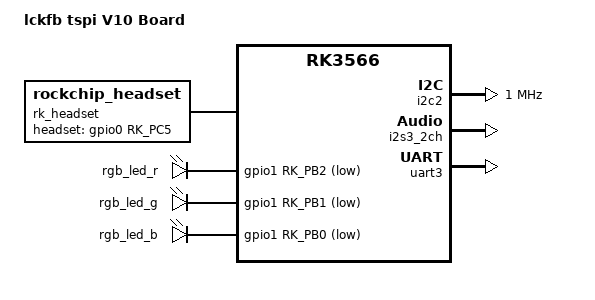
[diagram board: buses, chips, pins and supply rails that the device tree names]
// SPDX-License-Identifier: (GPL-2.0+ OR MIT)
/*
 * Copyright (c) 2020 Rockchip Electronics Co., Ltd.
 *
 */

 /*********************************************************************
 *           立创开发板不靠卖板赚钱，以培养中国工程师为己任  
 *         泰山派软硬件资料与相关扩展板软硬件资料官网全部开源
 *                      开发板官网：www.lckfb.com            
 *                     立创论坛：oshwhub.com/forum           
 *            关注B站：【立创开发板】，掌握我们的最新动态！  
 *********************************************************************
 * 文件名：tspi-rk3566-user-v10.dtsi
 * 描述：用户自定义层
 * 更新:
 * 时间          作者           联系           说明
 * 2023-09-13   吴才成    1378913492@qq.com   v1.0.0
 *********************************************************************/
/dts-v1/;

#include <dt-bindings/gpio/gpio.h>
#include <dt-bindings/display/media-bus-format.h>
#include <dt-bindings/pinctrl/rockchip.h>
#include "rk3566.dtsi"
#include <dt-bindings/display/rockchip_vop.h>


//tspi核心配置层，这里是几乎后期不需要怎么改动
#include "tspi-rk3566-core-v10.dtsi"

/ {
	model = "lckfb tspi V10 Board";
	compatible = "lckfb,tspi-v10", "rockchip,rk3566";

	chosen: chosen {
		// EMMC
		bootargs = "earlycon=uart8250,mmio32,0xfe660000 console=ttyFIQ0 root=PARTUUID=614e0000-0000 rw rootwait";
		// bootargs = "earlycon=uart8250,mmio32,0xfe660000 console=ttyFIQ0 root=/dev/mmcblk0p4 cma=512M rw rootwait";

			// bootargs = "earlycon=uart8250,mmio32,0xfe660000 console=ttyFIQ0 root=/dev/mmcblk0p4 rootfstype=squashfs ro rootwait cma=512M";
		// SD
		// bootargs = "earlycon=uart8250,mmio32,0xfe660000 console=ttyFIQ0 root=/dev/mmcblk1p4 cma=512M rw rootwait";
	};

	// 耳机
	rk_headset: rk-headset {
		compatible = "rockchip_headset";
		headset_gpio = <&gpio0 RK_PC5 GPIO_ACTIVE_HIGH>;
		pinctrl-names = "default";
		pinctrl-0 = <&hp_det>;
	};


	leds: leds {
		compatible = "gpio-leds";
		// 泰山派配置
		rgb_led_r: rgb-led-r {
			gpios = <&gpio1 RK_PB2 GPIO_ACTIVE_LOW>;
			// linux,default-trigger = "none";
			// default-state = "on";
			linux,default-trigger = "timer";
			linux,delay-reg = <0>;   		// 延时注册
			linux,blink-delay-on = <500>; 	// 打开时间
			linux,blink-delay-off = <500>;	// 关闭时间
		};
		rgb_led_g: rgb-led-g {
			gpios = <&gpio1 RK_PB1 GPIO_ACTIVE_LOW>;
			// linux,default-trigger = "none";
			// default-state = "on";
			linux,default-trigger = "timer";
			linux,delay-reg = <0>;  		// 延时注册
			linux,blink-delay-on = <1000>; 
			linux,blink-delay-off = <1000>;

		};
		rgb_led_b: rgb-led-b {
			gpios = <&gpio1 RK_PB0 GPIO_ACTIVE_LOW>;
			// linux,default-trigger = "none";
			// default-state = "on";
			linux,default-trigger = "timer";
			linux,delay-reg = <0>;  		// 延时注册
			linux,blink-delay-on = <2000>; 
			linux,blink-delay-off = <2000>;
		};
	};

	/*
	 * INMP441 I2S 数字麦克风 → 录音声卡（Linux 下可用 arecord / PulsePipe 等直接采集）
	 *
	 * 硬件接线（模块丝印 → SoC I2S3 M0）:
	 *   VDD → 3.3 V    GND → GND
	 *   SCK → I2S3_SCLK_M0 (BCLK)    WS → I2S3_LRCK_M0 (LRCK)
	 *   SD  → I2S3_SDI_M0（麦克风数字输出接 SoC 接收）
	 *   L/R → GND 为左声道时隙；接 VDD 为右声道时隙
	 *   I2S3_MCLK_M0：建议在 pinctrl 中使能（模块常见 breakout 无 MCLK 引脚时可不接芯片侧）
	 *   I2S3_SDO_M0：纯麦克风录音可不连接
	 *
	 * 注意：若启用 core 中的 audiopwmout-diff（I2S3 + dig_acodec），与本节点共用 I2S3 会冲突。
	 */
	inmp441_codec: inmp441-codec {
		compatible = "rockchip,dummy-codec";
		#sound-dai-cells = <0>;
	};

	inmp441_sound: inmp441-sound {
		status = "okay";
		compatible = "simple-audio-card";
		simple-audio-card,name = "INMP441";
		simple-audio-card,format = "i2s";
		simple-audio-card,mclk-fs = <256>;
		/* SoC 输出 BCLK/LRCK/MCLK，INMP441 作 I2S slave */
		simple-audio-card,bitclock-master = <&inmp441_cpu>;
		simple-audio-card,frame-master = <&inmp441_cpu>;
		inmp441_cpu: simple-audio-card,cpu {
			sound-dai = <&i2s3_2ch>;
		};
		simple-audio-card,codec {
			sound-dai = <&inmp441_codec>;
		};
	};
};

//用户三色灯
&leds {
	status = "okay";
	// status = "disable";
};


// 耳机插入检测，不使用扩展板情况需关闭，否则默认会检测到耳机插入
&rk_headset {
	status = "okay";
};
&pinctrl {
	headphone {
		hp_det: hp-det {
			rockchip,pins = <0 RK_PC5 RK_FUNC_GPIO &pcfg_pull_none>;
		};
	};
};



// &spi3 {
// 	status = "okay";

// 	pinctrl-names = "default";
// 	pinctrl-0 = <&spi3m1_pins>;

// 	num-cs = <2>;
// 	// 鲁班猫
// 	cs-gpios = <
// 			&gpio3 RK_PA4 GPIO_ACTIVE_LOW   // CS0
// 			&gpio3 RK_PA5 GPIO_ACTIVE_LOW   // CS1
// 	>;


// 	spidev@0 {
// 			compatible = "spidev";
// 			reg = <0>;                     // 对应 CS0
// 			spi-max-frequency = <500000>;
// 	};

// 	spidev@1 {
// 			compatible = "spidev";
// 			reg = <1>;                     // 对应 CS1
// 			spi-max-frequency = <500000>;
// 	};
// };


// &spi1 {
// 	status = "okay";

// 	pinctrl-names = "default";
// 	pinctrl-0 = <&spi1m1_pins>;

// 	num-cs = <2>;
// 	// 自制板
// 	cs-gpios = <
//         &gpio3 RK_PC0 GPIO_ACTIVE_LOW   // CS0
//         &gpio3 RK_PB7 GPIO_ACTIVE_LOW   // CS1
// 	>;

// 	spidev@0 {
// 			compatible = "spidev";
// 			reg = <0>;                     // 对应 CS0-acc
// 			spi-max-frequency = <100000>;
// 	};

// 	spidev@1 {
// 			compatible = "spidev";
// 			reg = <1>;                     // 对应 CS1-gyro
// 			spi-max-frequency = <100000>;
// 	};
// };



&i2c2 {
	status = "okay";
	clock-frequency = <1000000>;
	pinctrl-names = "default";
	pinctrl-0 = <&i2c2m0_xfer>;
	//添加你的I2C设备参考
	// gt1x: gt1x@14 {
	// 	compatible = "goodix,gt1x";
	// 	reg = <0x14>;
	// 	pinctrl-names = "default";
	// 	pinctrl-0 = <&touch_gpio>;
	// 	goodix,rst-gpio = <&gpio0 RK_PB6 GPIO_ACTIVE_HIGH>;
	// 	goodix,irq-gpio = <&gpio0 RK_PB5 IRQ_TYPE_LEVEL_LOW>;
	// };
};


// &i2c3 {
// 	status = "okay";
// 	pinctrl-names = "default";
// 	pinctrl-0 = <&i2c3m1_xfer>;
// };

/* I2S3 M0：INMP441 双工引脚组（SDO 可悬空不接） */
&i2s3_2ch {
	status = "okay";
	pinctrl-names = "default";
	pinctrl-0 = <&i2s3m0_mclk
		     &i2s3m0_sclk
		     &i2s3m0_lrck
		     &i2s3m0_sdi
		     &i2s3m0_sdo>;
	rockchip,clk-trcm = <1>;
};

/* 勿与 inmp441_sound 同时使用 I2S3 */
&audiopwmout_diff {
	status = "disabled";
};

/* UART3 M1: UART3_TX_M1 / UART3_RX_M1 */
&uart3 {
	status = "okay";
	pinctrl-names = "default";
	pinctrl-0 = <&uart3m1_xfer>;
};
